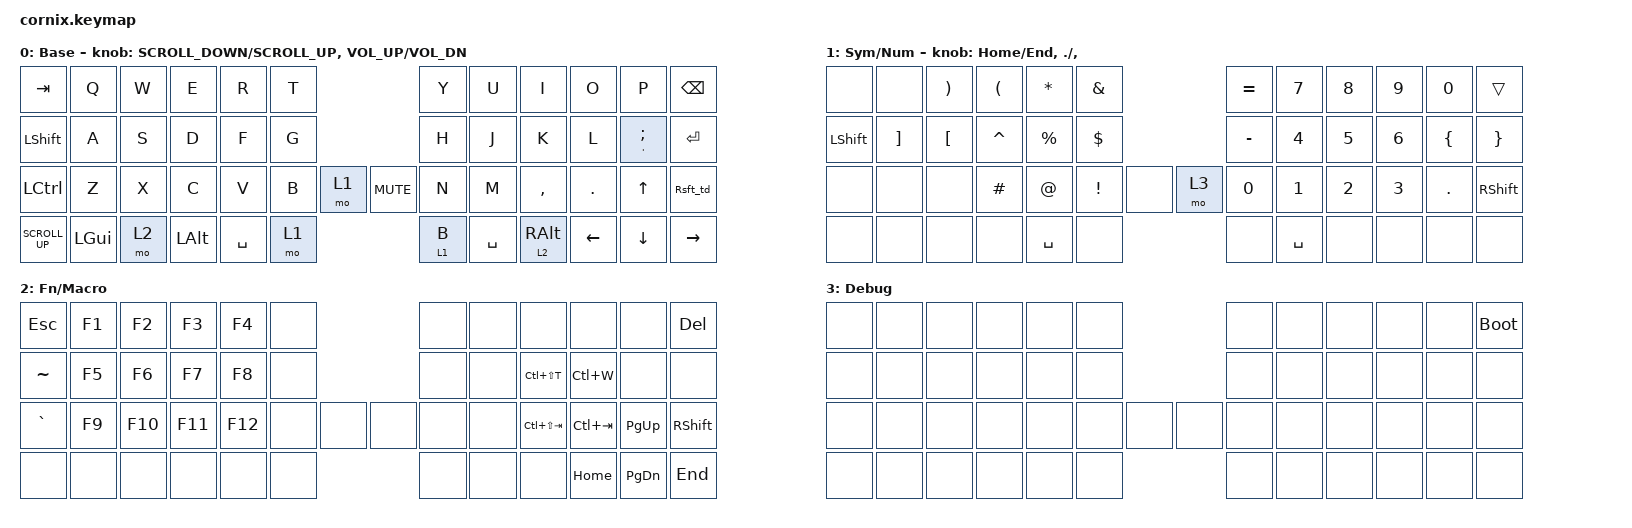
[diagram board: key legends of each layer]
/*
 * Copyright (c) 2020 The ZMK Contributors
 *
 * SPDX-License-Identifier: MIT
 */

#include "zmk-helpers/helper.h"
#include "includes/cornix54.h"

// tap windows for ctl alt and gui

#define HM_TAPPING_TERM 250
#define HM_TAPPING_REPEAT 210

// quick tapping for shift

#define HM_TAPPING_TERM_FAST 200
#define HM_PRIOR_IDLE 70
#define BASE 0
#define WIN 1
#define LOWER 2
#define RAISE 3
#define ADJUST 4
#define NAVI   5
#define NUM    6
#define DEBUG  7

// https://github.com/urob/zmk-config/tree/main#timeless-homerow-mods

#define KEYS_L LT0 LT1 LT2 LT3 LT4 LT5 LM0 LM1 LM2 LM3 LM4 LM5 LB0 LB1 LB2 LB3 LB4 LB5  // left hand
#define KEYS_R RT0 RT1 RT2 RT3 RT4 RT5 RM0 RM1 RM2 RM3 RM4 RM5 RB0 RB1 RB2 RB3 RB4 RB5  // right hand
#define THUMBS LH1 LH0 RH0 RH1
#define KEYS_T LH1 LH0 RH0 RH1
#define ZMK_POINTING_DEFAULT_SCRL_VAL 15

#include <behaviors.dtsi>
#include <dt-bindings/zmk/keys.h>

/ {
    // Activate ADJUST layer by pressing raise and lower

    behaviors {
        // Positional Homerow mods for shift
        // Use faster tapping term and disable some features that may
        // cause false negatives.
        /*
         * Non-Positional Homerow Mods
         * Used for &mm_grescm_gui behavior on left hand.
         *
         * Usage: &hm LSHFT T
         * Tap: T
         * Tap-Tap-Hold: Repeat T
         * Hold: LSHIFT
         */

        lt: layer_tap {
            compatible = "zmk,behavior-hold-tap";
            #binding-cells = <2>;
            bindings = <&mo>, <&kp>;

            flavor = "hold-preferred";
            tapping-term-ms = <HM_TAPPING_TERM>;
            quick-tap-ms = <200>;
        };

        ht: hold_tap {
            compatible = "zmk,behavior-hold-tap";
            bindings = <&kp>, <&kp>;

            #binding-cells = <2>;
            tapping-term-ms = <125>;
            flavor = "balanced";
            quick-tap-ms = <125>;
        };

        Rsft_td: Rsft_td {
            compatible = "zmk,behavior-tap-dance";
            label = "Rsft_td";
            #binding-cells = <0>;
            tapping-term-ms = <150>;
            bindings = <&ht RSHIFT SLASH>, <&ht QMARK QMARK>;
        };
    };

    conditional_layers { compatible = "zmk,conditional-layers"; };

    combos { compatible = "zmk,combos"; };

    keymap {
        compatible = "zmk,keymap";

        default_layer {
            display-name = "Base";

            // ------------------------------------------------------------------------------------------------------------
            // |   `   |  1  |  2  |  3   |  4   |  5   |                   |  6   |  7    |  8    |  9   |   0   |       |
            // |  ESC  |  Q  |  W  |  E   |  R   |  T   |                   |  Y   |  U    |  I    |  O   |   P   | BKSPC |
            // |  TAB  |  A  |  S  |  D   |  F   |  G   |                   |  H   |  J    |  K    |  L   |   ;   |   '   |
            // | SHIFT |  Z  |  X  |  C   |  V   |  B   |  MUTE  |  |       |  N   |  M    |  ,    |  .   |   /   | SHIFT |
            //               | GUI | ALT  | CTRL | LOWER|  ENTER |  | SPACE | RAISE| CTRL  | ALT   | GUI  |

            bindings = <
&kp TAB          &kp Q     &kp W  &kp E     &kp R      &kp T                     &kp Y    &kp U      &kp I       &kp O     &kp P               &kp BACKSPACE
&kp LSHIFT       &kp A     &kp S  &kp D     &kp F      &kp G                     &kp H    &kp J      &kp K       &kp L     &ht APOS SEMICOLON  &kp ENTER
&kp LCTRL        &kp Z     &kp X  &kp C     &kp V      &kp B  &mo 1  &kp C_MUTE  &kp N    &kp M      &kp COMMA   &kp DOT   &kp UP              &Rsft_td
&kp K_SCROLL_UP  &kp LGUI  &mo 2  &kp LALT  &kp SPACE  &mo 1                     &lt 1 B  &kp SPACE  &lt 2 RALT  &kp LEFT  &kp DOWN            &kp RIGHT
            >;

            sensor-bindings =
                <&inc_dec_kp K_SCROLL_DOWN K_SCROLL_UP>,
                <&inc_dec_kp C_VOL_UP C_VOL_DN>;
        };

        sym+num_layer {
            bindings = <
&none       &none              &kp RIGHT_PARENTHESIS  &kp LEFT_PARENTHESIS  &kp ASTERISK  &kp AMPERSAND                  &kp EQUAL  &kp N7     &kp N8  &kp N9  &kp N0          &trans
&kp LSHIFT  &kp RIGHT_BRACKET  &kp LEFT_BRACKET       &kp CARET             &kp PERCENT   &kp DOLLAR                     &kp MINUS  &kp N4     &kp N5  &kp N6  &kp LEFT_BRACE  &kp RIGHT_BRACE
&none       &none              &none                  &kp HASH              &kp AT_SIGN   &kp EXCLAMATION  &none  &mo 3  &kp N0     &kp N1     &kp N2  &kp N3  &kp DOT         &kp RSHFT
&none       &none              &none                  &none                 &kp SPACE     &none                          &none      &kp SPACE  &none   &none   &none           &none
            >;

            label = "Sym/Num";
            sensor-bindings =
                <&inc_dec_kp HOME END>,
                <&inc_dec_kp PERIOD COMMA>;
        };

        fn+macro {
            bindings = <
&kp ESC    &kp F1  &kp F2   &kp F3   &kp F4   &none                &none  &none  &none            &none        &none          &kp DEL
&kp TILDE  &kp F5  &kp F6   &kp F7   &kp F8   &none                &none  &none  &kp LC(LS(T))    &kp LC(W)    &none          &none
&kp GRAVE  &kp F9  &kp F10  &kp F11  &kp F12  &none  &none  &none  &none  &none  &kp LC(LS(TAB))  &kp LC(TAB)  &kp PAGE_UP    &kp RSHIFT
&none      &none   &none    &none    &none    &none                &none  &none  &none            &kp HOME     &kp PAGE_DOWN  &kp END
            >;

            label = "Fn/Macro";
        };

        Debug_layer {
            display-name = "Debug";

            // ----------------------------------------------------------------------------------------------------------------------------
            // | BTCLR  |  BT1    |  BT2    |   BT3   |   BT4   |   BT5   |                  |      |      |       |      |       |       |
            // | EXTPWR | BTCLR | RGB_HUI | RGB_SAD | RGB_SAI | RGB_EFF |                  |      |      |       |      |       |       |
            // |        | RGB_BRD | RGB_BRI |         |         |         |                  |      |      |       |      |       |       |
            // |        |         |         |         |         |         | RGB_TOG | |      |      |      |       |      |       |       |
            //                    |         |         |         |         |         | |      |      |      |       |      |

            bindings = <
&none       &none        &none        &none        &none        &none                &none  &none  &none  &none  &none  &bootloader
&none       &none         &none         &none         &none         &none                       &none  &none  &none  &none  &none  &none
&none       &none         &none         &none         &none         &none         &none  &none  &none  &none  &none  &none  &none  &none
&none       &none         &none         &none         &none         &none                       &none  &none  &none  &none  &none  &none
            >;
        };
    };
};
